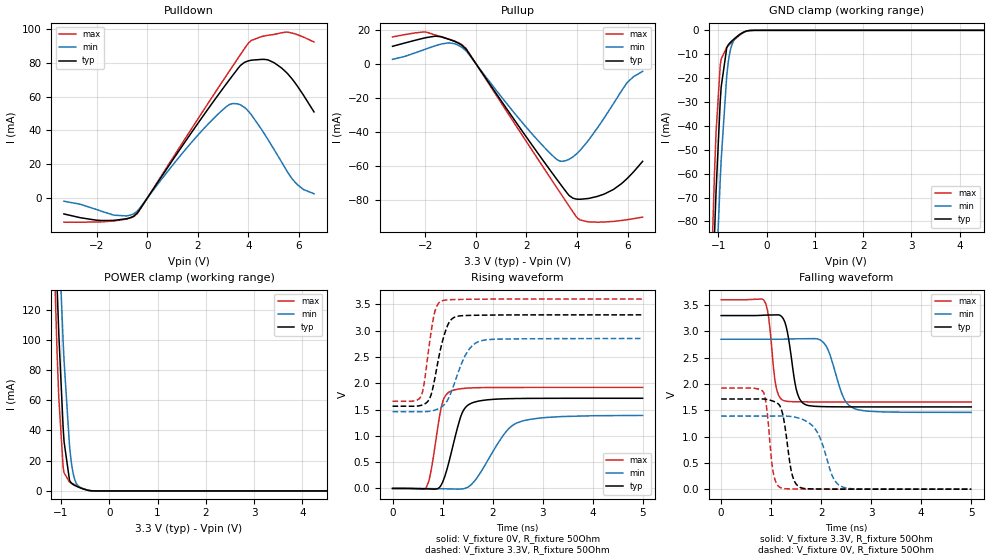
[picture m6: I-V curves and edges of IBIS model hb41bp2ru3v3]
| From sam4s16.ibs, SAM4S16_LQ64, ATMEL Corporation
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[Model] hb41bp2ru3v3
| config_pins "NO PIN CONFIG TO SEARCH"
Model_type   I/O
Polarity   Non-Inverting
Enable   Active-Low
Vinl = 0.8
Vinh = 2.0
Vmeas = 1.65
Vref = 1.65
Cref = 15pF
Rref = 50
|   typ   min   max
C_comp   2.474e-12   2.403e-12   2.637e-12
|C_comp (ON state)   2.099e-12   1.998e-12   2.386e-12
|C_comp (OFF state)   2.849e-12   2.808e-12   2.887e-12
[Voltage Range]   3.3   2.85   3.6
[Temperature Range]   25   125   -40
[Pullup Reference]   3.3   2.85   3.6
[Pulldown Reference]   0   0   0
[Power Clamp Reference]   3.3   2.85   3.6
[GND Clamp Reference]   0   0   0
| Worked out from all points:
|   slope of the pulldown table from 0 to 0.495 V, typ, clamps not added: 44.3 ohm
|   slope of the pullup table from 0 to 0.495 V, typ, clamps not added: 45.7 ohm
|   GND clamp passes 1 mA (typ) near -0.50 V on its own axis
|   POWER clamp passes 1 mA (typ) near -0.51 V on its own axis
|   falling waveform, V_fixture 3.3V, R_fixture 50Ohm: 20-80 % time 168ps typ, 280ps min, 124ps max; typ from 3.3 V to 1.56 V
|   rising waveform, V_fixture 0V, R_fixture 50Ohm: 20-80 % time 284ps typ, 556ps min, 194ps max; typ from 0 V to 1.71 V
|   rising waveform, V_fixture 3.3V, R_fixture 50Ohm: 20-80 % time 239ps typ, 350ps min, 173ps max; typ from 1.56 V to 3.3 V
|   falling waveform, V_fixture 0V, R_fixture 50Ohm: 20-80 % time 160ps typ, 309ps min, 119ps max; typ from 1.71 V to 0.001 V
[Pulldown]
|   Voltage   I(typ)   I(min)   I(max)
-3.3V     -9.385mA   -1.842mA   -14.25mA
-1.774V   -13.29mA   -7.991mA   -14.04mA
-1.311V   -13.18mA   -10.12mA   -13.53mA
-528mV    -10.58mA   -9.192mA   -10.89mA
2.138V    47.1mA     39.49mA    49.96mA
3.127V    67.54mA    54.06mA    72.42mA
3.412V    73.22mA    55.94mA    78.8mA
3.691V    78.52mA    55.1mA     85.01mA
4.116V    81.56mA    49.31mA    93.2mA
5.016V    80.12mA    28.78mA    96.82mA
5.831V    68.49mA    9.664mA    97.21mA
6.597V    50.98mA    2.56mA     92.34mA
[GND Clamp]
|   Voltage   I(typ)   I(min)   I(max)
-3.3V     -1.96A     -1.813A    -2.078A
-1.162V   -137.7mA   -171.7mA   -113.7mA
-1.079V   -85.52mA   -122.5mA   -59.98mA
-1.046V   -67.19mA   -104.3mA   -42.63mA
-960mV    -29.67mA   -62.35mA   -14.72mA
-940.5mV  -23.74mA   -54.18mA   -12.05mA
-825mV    -7.297mA   -18.91mA   -7.084mA
-766.3mV  -5.406mA   -9.917mA   -5.896mA
-695.1mV  -4mA       -4.841mA   -4.513mA
-468.6mV  -691.5uA   -755.4uA   -803.5uA
-261.6mV  -5.929uA   -15.8uA    -4.467uA
6.597V    0A         0A         0A
[Pullup]
|   Voltage   I(typ)   I(min)   I(max)
-3.3V     10.19mA    2.545mA    15.7mA
-2.135V   14.72mA    7.792mA    18.5mA
-1.613V   16.14mA    10.48mA    16.86mA
-1.06V    14.28mA    12.25mA    14.35mA
-538.8mV  10.6mA     9.434mA    11mA
2.138V    -45.94mA   -39.74mA   -48.83mA
3.412V    -71.95mA   -57.2mA    -77.36mA
3.691V    -77.28mA   -55.96mA   -83.56mA
4.033V    -79.4mA    -52.15mA   -90.65mA
4.811V    -77.75mA   -37.57mA   -92.88mA
5.973V    -67.46mA   -11.27mA   -91.45mA
6.597V    -57.23mA   -4.486mA   -89.92mA
[POWER Clamp]
|   Voltage   I(typ)   I(min)   I(max)
-3.3V     3.084A     2.792A     3.329A
-1.165V   218.4mA    275.2mA    178.3mA
-1.082V   135.5mA    198.4mA    91.64mA
-1.046V   103.4mA    167.2mA    61.04mA
-956.4mV  41.66mA    98.53mA    15.8mA
-937.2mV  32.47mA    85.83mA    11.98mA
-825mV    7.11mA     30.11mA    5.932mA
-794.4mV  5.485mA    20.89mA    5.378mA
-717.9mV  3.675mA    7.667mA    4.093mA
-610.8mV  2.143mA    2.431mA    2.43mA
-261.6mV  2.9uA      12.48uA    1.51uA
6.597V    0A         0A         0A
[Ramp]
R_load = 50
|   typ   min   max
dV/dt_r   1.02809/2.8431e-10   0.832628/5.56217e-10   1.15217/1.93993e-10
dV/dt_f   1.04176/1.68003e-10   0.83391/2.79635e-10   1.16515/1.24446e-10
[Falling Waveform]
V_fixture = 3.3V
V_fixture_min = 2.85V
V_fixture_max = 3.6V
R_fixture = 50Ohm
C_fixture = 0F
|   Time   V(typ)   V(min)   V(max)
0s        3.3V       2.85V      3.6V
875ps     3.308V     2.85V      3.56V
950ps     3.31V      2.85V      3.259V
1.1ns     3.313V     2.85V      1.939V
1.25ns    3.226V     2.852V     1.685V
1.5ns     1.905V     2.858V     1.662V
1.7ns     1.602V     2.86V      1.66V
2.1ns     1.568V     2.719V     1.659V
2.65ns    1.565V     1.537V     1.659V
5ns       1.564V     1.46V      1.658V
[Rising Waveform]
V_fixture = 0V
V_fixture_min = 0V
V_fixture_max = 0V
R_fixture = 50Ohm
C_fixture = 0F
|   Time   V(typ)   V(min)   V(max)
0s        0V         0V         0V
675ps     -7.473mV   -2.032mV   19.77mV
775ps     -11.38mV   -3.967mV   361.7mV
1ns       117mV      -6.325mV   1.639V
1.175ns   682.8mV    -9.53mV    1.853V
1.4ns     1.452V     -7.927mV   1.899V
1.65ns    1.644V     154.1mV    1.913V
2.2ns     1.702V     992.3mV    1.919V
2.475ns   1.709V     1.24V      1.92V
5ns       1.713V     1.388V     1.92V
[Rising Waveform]
V_fixture = 3.3V
V_fixture_min = 2.85V
V_fixture_max = 3.6V
R_fixture = 50Ohm
C_fixture = 0F
|   Time   V(typ)   V(min)   V(max)
0s        1.563V     1.459V     1.657V
575ps     1.58V      1.458V     1.76V
625ps     1.598V     1.459V     1.954V
725ps     1.68V      1.465V     2.665V
825ps     1.991V     1.483V     3.278V
975ps     2.711V     1.544V     3.56V
1.2ns     3.231V     1.897V     3.589V
1.5ns     3.288V     2.602V     3.595V
1.775ns   3.293V     2.807V     3.597V
5ns       3.299V     2.849V     3.599V
[Falling Waveform]
|Gnd
V_fixture = 0V
V_fixture_min = 0V
V_fixture_max = 0V
R_fixture = 50Ohm
C_fixture = 0F
|   Time   V(typ)   V(min)   V(max)
0s        1.714V     1.39V      1.921V
850ps     1.714V     1.39V      1.835V
1.05ns    1.67V      1.39V      272.7mV
1.2ns     1.527V     1.39V      23.36mV
1.4ns     354mV      1.381V     5.186mV
1.575ns   36.71mV    1.345V     3.028mV
1.925ns   4.121mV    1.08V      1.945mV
2.225ns   2.219mV    247.3mV    1.66mV
2.4ns     1.836mV    52.54mV    1.55mV
5ns       897.8uV    893.8uV    912.1uV
